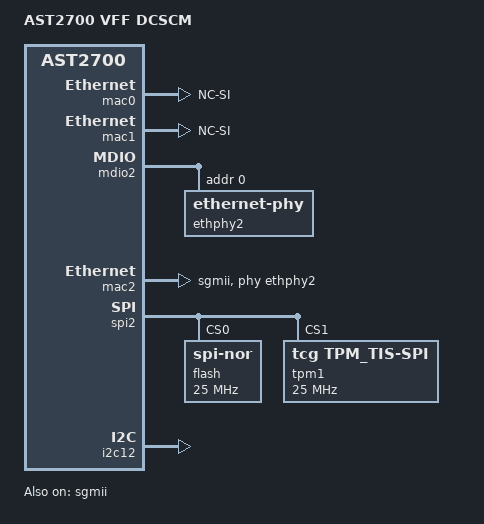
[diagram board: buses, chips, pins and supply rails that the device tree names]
// SPDX-License-Identifier: GPL-2.0+

/dts-v1/;

#include "ast2700-evb.dts"

/ {
	model = "AST2700 VFF DCSCM";

	/* alias eth0 for mac2 for development convenience */
	aliases {
		ethernet0 = &mac2;
		ethernet1 = &mac0;
		ethernet2 = &mac1;
	};

};

/* Disable components from ast2700-evb */
&mdio0 {
	status = "disabled";
};

&mdio1 {
	status = "disabled";
};

&pcie2 {
	status = "disabled";
};

/* Enable components for ast2700-vff */
&mac0 {
	status = "okay";
	phy-mode = "NC-SI";
	use-ncsi;
	pinctrl-names = "default";
	pinctrl-0 = <&pinctrl_rmii0_default>;
	/delete-property/phy-handle;
};

&mac1 {
	status = "okay";
	phy-mode = "NC-SI";
	use-ncsi;
	pinctrl-names = "default";
	pinctrl-0 = <&pinctrl_rmii1_default>;
	/delete-property/phy-handle;
};

&mdio2 {
	status = "okay";
	#address-cells = <1>;
	#size-cells = <0>;
	ethphy2: ethernet-phy@0 {
		reg = <0>;
	};
};

&sgmii {
	status = "okay";
};

&mac2 {
	status = "okay";
	phy-mode = "sgmii";
	phy-handle = <&ethphy2>;
};

&spi2 {
	compatible = "aspeed,ast2700-spi-txrx";
	status = "okay";
	pinctrl-names = "default";
	pinctrl-0 = <&pinctrl_spi2_default &pinctrl_spi2_cs1_default>;

	/delete-property/ spi-aspeed-full-duplex;
	/delete-node/ flash@1;

	flash@0 {
		compatible = "jedec,spi-nor";
		reg = <0>;
		spi-max-frequency = <25000000>;
		spi-tx-bus-width = <1>;
		spi-rx-bus-width = <1>;
		status = "okay";
	};

	tpm1: tpmdev@1 {
		compatible = "tcg,tpm_tis-spi";
		reg = <1>;
		spi-max-frequency = <25000000>;
		status = "okay";
	};
};

&i2c12 {
	status = "okay";
};
